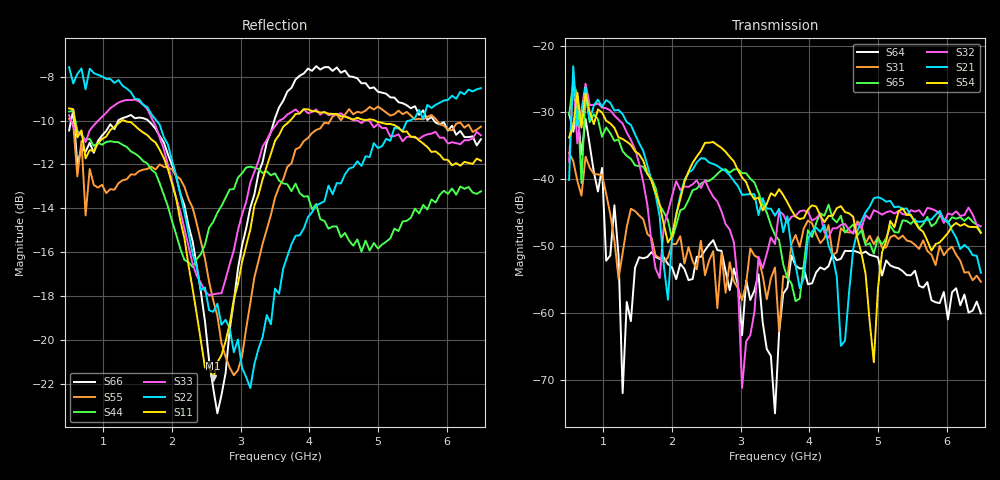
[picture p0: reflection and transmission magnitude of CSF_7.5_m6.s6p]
!Keysight Technologies,M9804A,MY58100912,A.14.10.03
!Date: Thursday, April 27, 2023 10:28:33
!Correction: S11(C  6-Port  )
!S12(C  6-Port  )
!S13(C  6-Port  )
!S14(C  6-Port  )
!S15(C  6-Port  )
!S16(C  6-Port  )
!S21(C  6-Port  )
!S22(C  6-Port  )
!S23(C  6-Port  )
!S24(C  6-Port  )
!S25(C  6-Port  )
!S26(C  6-Port  )
!S31(C  6-Port  )
!S32(C  6-Port  )
!S33(C  6-Port  )
!S34(C  6-Port  )
!S35(C  6-Port  )
!S36(C  6-Port  )
!S41(C  6-Port  )
!S42(C  6-Port  )
!S43(C  6-Port  )
!S44(C  6-Port  )
!S45(C  6-Port  )
!S46(C  6-Port  )
!S51(C  6-Port  )
!S52(C  6-Port  )
!S53(C  6-Port  )
!S54(C  6-Port  )
!S55(C  6-Port  )
!S56(C  6-Port  )
!S61(C  6-Port  )
!S62(C  6-Port  )
!S63(C  6-Port  )
!S64(C  6-Port  )
!S65(C  6-Port  )
!S66(C  6-Port  )
!S6P File: Measurement: :
# Hz S  RI  R 50
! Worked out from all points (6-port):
!   101 points, 500 MHz to 6.5 GHz, reference 50 ohm
!   strongest paths, dB at 500 MHz, 2 GHz, 3.5 GHz, 5 GHz, 6.5 GHz:
!     S54: -33.7, -48.5, -42.5, -56.3, -48.0
!     S21: -40.1, -48.7, -45.4, -42.6, -53.9
!     S32: -37.3, -42.5, -49.6, -44.9, -47.0
!     S65: -30.4, -48.9, -48.3, -48.8, -47.9
!     S31: -36.0, -49.6, -53.2, -48.6, -55.3
!     S64: -30.1, -53.2, -74.9, -51.6, -60.0
!   lowest |S11| = -21.7 dB at 2.6 GHz (marker M1), VSWR 1.18, Z = 42.7 + j1.96 ohm
!   |S11| at or under -10 dB: 584.1 MHz to 1.268 GHz (684.4 MHz wide, 73.9 % of centre); 1.301 GHz to 3.721 GHz (2.419 GHz wide, 96.4 % of centre); 4.956 GHz to end of sweep
